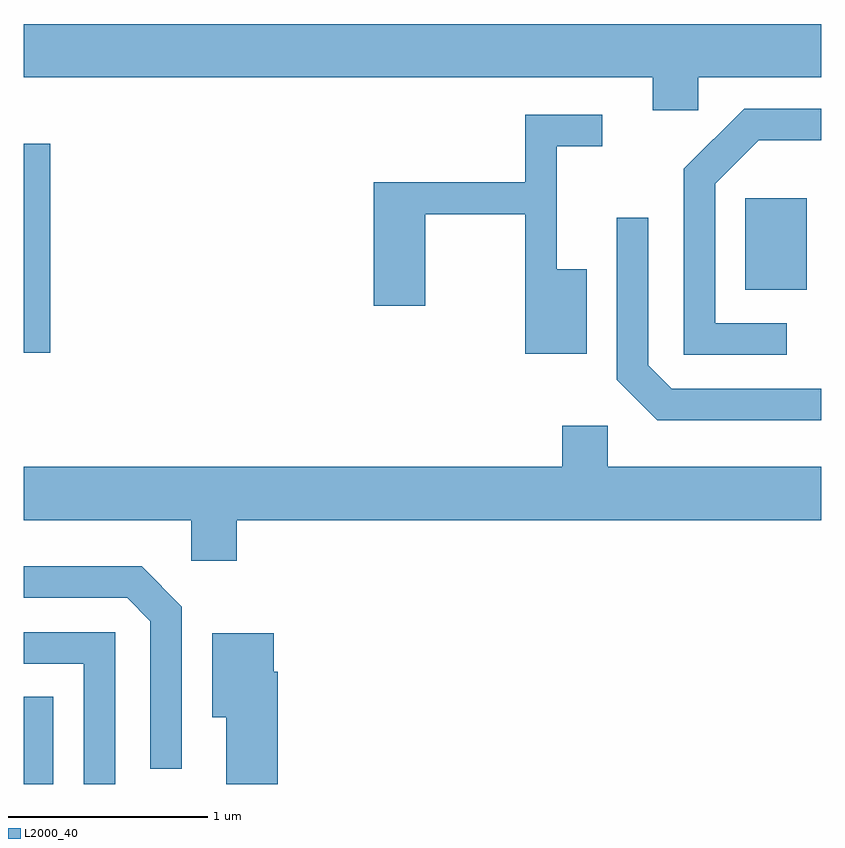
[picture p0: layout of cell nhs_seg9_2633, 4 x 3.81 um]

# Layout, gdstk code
import gdstk
lib = gdstk.Library(unit=1e-6, precision=1e-09)
def R(c, l, rs):  # rectangles x0, y0, x1, y1
    for r in rs: c.add(gdstk.rectangle(r[:2], r[2:], *l))
def P(c, l, *ps):  # polygons
    for p in ps: c.add(gdstk.Polygon(p, *l))
L2000_40 = (2000, 40)

nhs_seg9_2633 = lib.new_cell('nhs_seg9_2633')
R(nhs_seg9_2633, L2000_40, [(261.611,2050.432,261.759,2050.869), (261.611,2052.596,261.744,2053.644), (265.231,2052.911,265.539,2053.369)])
P(nhs_seg9_2633, L2000_40, [(264.994,2053.976),(265.611,2053.976),(265.611,2054.244),(261.611,2054.244),(261.611,2053.976),(264.766,2053.976),(264.766,2053.811),(264.994,2053.811)],
  [(265.438,2052.744),(265.079,2052.744),(265.079,2053.443),(265.297,2053.661),(265.611,2053.661),(265.611,2053.819),(265.224,2053.819),(264.921,2053.517),(264.921,2052.586),(265.438,2052.586)],
  [(264.434,2053.014),(264.284,2053.014),(264.284,2053.631),(264.513,2053.631),(264.513,2053.789),(264.126,2053.789),(264.126,2053.449),(263.366,2053.449),(263.366,2052.831),(263.624,2052.831),(263.624,2053.291),(264.126,2053.291),(264.126,2052.591),(264.434,2052.591)],
  [(265.611,2052.414),(264.862,2052.414),(264.744,2052.532),(264.744,2053.273),(264.586,2053.273),(264.586,2052.459),(264.789,2052.256),(265.611,2052.256)],
  [(262.679,2051.756),(265.611,2051.756),(265.611,2052.024),(264.539,2052.024),(264.539,2052.229),(264.311,2052.229),(264.311,2052.024),(261.611,2052.024),(261.611,2051.756),(262.451,2051.756),(262.451,2051.551),(262.679,2051.551)],
  [(262.404,2051.322),(262.202,2051.524),(261.611,2051.524),(261.611,2051.366),(262.129,2051.366),(262.246,2051.249),(262.246,2050.508),(262.404,2050.508)],
  [(262.069,2051.194),(261.611,2051.194),(261.611,2051.036),(261.911,2051.036),(261.911,2050.432),(262.069,2050.432)],
  [(262.884,2050.994),(262.864,2050.994),(262.864,2051.189),(262.556,2051.189),(262.556,2050.766),(262.626,2050.766),(262.626,2050.432),(262.884,2050.432)])

lib.write_gds('nhs_seg9_2633.gds')
